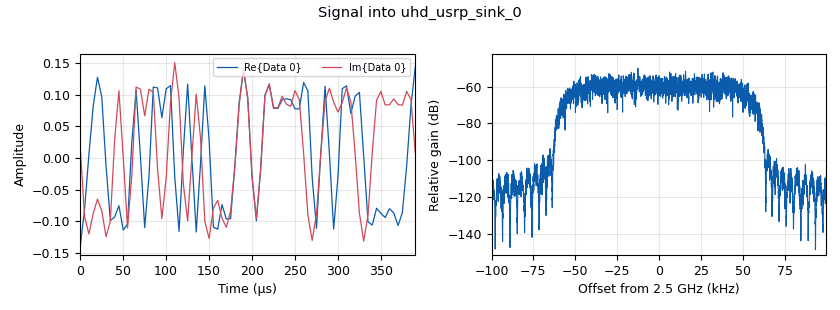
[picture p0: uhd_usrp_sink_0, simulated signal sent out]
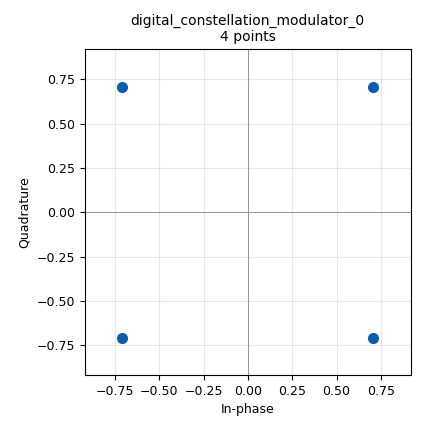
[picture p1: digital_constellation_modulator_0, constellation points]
<?xml version='1.0' encoding='utf-8'?>
<flow_graph>
<block>
<key>blocks_multiply_const_vxx</key>
<param><key>id</key><value>blocks_multiply_const_vxx_0</value></param>
<param><key>type</key><value>complex</value></param>
<param><key>const</key><value>tx_amp</value></param>
</block>
<block>
<key>variable</key>
<param><key>id</key><value>len_tag_key</value></param>
<param><key>value</key><value>"packet_len"</value></param>
</block>
<block>
<key>uhd_usrp_sink</key>
<param><key>id</key><value>uhd_usrp_sink_0</value></param>
<param><key>type</key><value>fc32</value></param>
<param><key>dev_addr</key><value></value></param>
<param><key>sync</key><value></value></param>
<param><key>clock_rate</key><value>0.0</value></param>
<param><key>samp_rate</key><value>samp_rate</value></param>
<param><key>center_freq0</key><value>tx_freq</value></param>
<param><key>gain0</key><value>tx_gain</value></param>
<param><key>ant0</key><value>TX/RX</value></param>
</block>
<block>
<key>digital_constellation_modulator</key>
<param><key>id</key><value>digital_constellation_modulator_0</value></param>
<param><key>constellation</key><value>const_qpsk</value></param>
<param><key>differential</key><value>True</value></param>
<param><key>samples_per_symbol</key><value>sps</value></param>
<param><key>excess_bw</key><value>eb</value></param>
</block>
<block>
<key>parameter</key>
<param><key>id</key><value>samp_rate</value></param>
<param><key>label</key><value>Sample Rate</value></param>
<param><key>value</key><value>200e3</value></param>
<param><key>type</key><value>eng_float</value></param>
<param><key>short_id</key><value>r</value></param>
</block>
<block>
<key>parameter</key>
<param><key>id</key><value>sps</value></param>
<param><key>label</key><value>Samples per Symbol</value></param>
<param><key>value</key><value>2</value></param>
<param><key>type</key><value>intx</value></param>
<param><key>short_id</key><value>S</value></param>
</block>
<block>
<key>analog_random_source_x</key>
<param><key>id</key><value>analog_random_source_x_0</value></param>
<param><key>type</key><value>byte</value></param>
<param><key>min</key><value>0</value></param>
<param><key>max</key><value>256</value></param>
<param><key>num_samps</key><value>1000</value></param>
<param><key>repeat</key><value>True</value></param>
</block>
<block>
<key>variable_constellation_rect</key>
<param><key>id</key><value>const_qpsk</value></param>
<param><key>value</key><value>"ok"</value></param>
<param><key>sym_map</key><value>[0, 1, 3, 2]</value></param>
<param><key>const_points</key><value>[-1-1j, -1+1j, 1+1j, 1-1j]</value></param>
<param><key>rot_sym</key><value>4</value></param>
<param><key>real_sect</key><value>2</value></param>
<param><key>imag_sect</key><value>2</value></param>
<param><key>w_real_sect</key><value>1</value></param>
<param><key>w_imag_sect</key><value>1</value></param>
<param><key>softbits_lut</key><value>None</value></param>
</block>
<block>
<key>parameter</key>
<param><key>id</key><value>eb</value></param>
<param><key>label</key><value>Excess BW</value></param>
<param><key>value</key><value>0.25</value></param>
<param><key>type</key><value>eng_float</value></param>
</block>
<block>
<key>parameter</key>
<param><key>id</key><value>tx_freq</value></param>
<param><key>label</key><value>Transmit Frequency</value></param>
<param><key>value</key><value>2.5e9</value></param>
<param><key>type</key><value>eng_float</value></param>
<param><key>short_id</key><value>f</value></param>
</block>
<block>
<key>parameter</key>
<param><key>id</key><value>tx_gain</value></param>
<param><key>label</key><value>Transmit Gain</value></param>
<param><key>value</key><value>25</value></param>
<param><key>type</key><value>eng_float</value></param>
<param><key>short_id</key><value>g</value></param>
</block>
<block>
<key>parameter</key>
<param><key>id</key><value>tx_amp</value></param>
<param><key>label</key><value>Transmit Amplitude</value></param>
<param><key>value</key><value>0.125</value></param>
<param><key>type</key><value>eng_float</value></param>
<param><key>short_id</key><value>a</value></param>
</block>
<block>
<key>parameter</key>
<param><key>id</key><value>addr</value></param>
<param><key>label</key><value>Address</value></param>
<param><key>value</key><value>type=b200</value></param>
<param><key>type</key><value>string</value></param>
</block>
<block>
<key>options</key>
<param><key>id</key><value>mpsk_tx</value></param>
<param><key>generate_options</key><value>no_gui</value></param>
<param><key>category</key><value>Custom</value></param>
</block>
<connection><source_block_id>blocks_multiply_const_vxx_0</source_block_id><sink_block_id>uhd_usrp_sink_0</sink_block_id><source_key>0</source_key><sink_key>0</sink_key></connection>
<connection><source_block_id>analog_random_source_x_0</source_block_id><sink_block_id>digital_constellation_modulator_0</sink_block_id><source_key>0</source_key><sink_key>0</sink_key></connection>
<connection><source_block_id>digital_constellation_modulator_0</source_block_id><sink_block_id>blocks_multiply_const_vxx_0</sink_block_id><source_key>0</source_key><sink_key>0</sink_key></connection>
</flow_graph>
